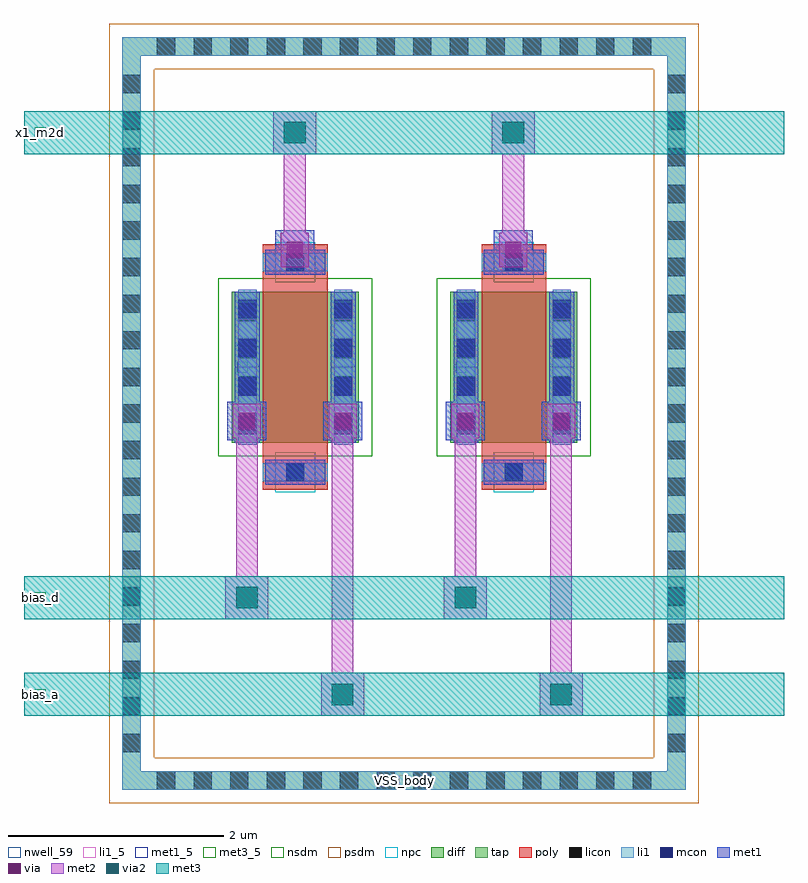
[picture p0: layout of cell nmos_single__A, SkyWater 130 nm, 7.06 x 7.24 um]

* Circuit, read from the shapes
.subckt nmos_single__A VSS_body bias_a bias_d x1_m2d
XM1 bias_a x1_m2d bias_d VSS_body sky130_fd_pr__nfet_01v8 w=1.4 l=0.6 m=2
.ends

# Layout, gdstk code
import gdstk
lib = gdstk.Library(unit=1e-6, precision=1e-09)
def R(c, l, rs):  # rectangles x0, y0, x1, y1
    for r in rs: c.add(gdstk.rectangle(r[:2], r[2:], *l))
def A(c, l, x, y, w, h, nx, ny, dx, dy):  # array of equal rectangles
    R(c, l, [(x+i*dx, y+j*dy, x+i*dx+w, y+j*dy+h) for i in range(nx) for j in range(ny)])
nwell_59 = (64, 59)
diff = (65, 20)
tap = (65, 44)
poly = (66, 20)
licon = (66, 44)
li1_5 = (67, 5)
li1 = (67, 20)
mcon = (67, 44)
met1_5 = (68, 5)
met1 = (68, 20)
via = (68, 44)
met2 = (69, 20)
via2 = (69, 44)
met3_5 = (70, 5)
met3 = (70, 20)
nsdm = (93, 44)
psdm = (94, 20)
npc = (95, 20)

sky130_fd_pr__nfet_01v8_ = lib.new_cell('sky130_fd_pr__nfet_01v8_KCM6UP')
R(sky130_fd_pr__nfet_01v8_, diff, [(-0.59,-0.7,0.59,0.7)])
R(sky130_fd_pr__nfet_01v8_, poly, [(-0.3,-1.14,0.3,1.14)])
A(sky130_fd_pr__nfet_01v8_, licon, -0.53, -0.595, 0.17, 0.17, 1, 4, 0, 0.34)
A(sky130_fd_pr__nfet_01v8_, licon, 0.36, -0.595, 0.17, 0.17, 1, 4, 0, 0.34)
R(sky130_fd_pr__nfet_01v8_, licon, [(-0.085,-1.06,0.085,-0.89), (-0.085,0.89,0.085,1.06)])
R(sky130_fd_pr__nfet_01v8_, li1, [(-0.3,-1.06,0.3,-0.89), (-0.53,-0.72,-0.36,0.72), (0.36,-0.72,0.53,0.72), (-0.3,0.89,0.3,1.06)])
A(sky130_fd_pr__nfet_01v8_, mcon, -0.53, -0.625, 0.17, 0.17, 1, 4, 0, 0.36)
A(sky130_fd_pr__nfet_01v8_, mcon, 0.36, -0.625, 0.17, 0.17, 1, 4, 0, 0.36)
R(sky130_fd_pr__nfet_01v8_, mcon, [(-0.085,-1.06,0.085,-0.89), (-0.085,0.89,0.085,1.06)])
R(sky130_fd_pr__nfet_01v8_, met1, [(-0.28,-1.09,0.28,-0.86), (-0.56,-0.7,-0.33,0.7), (0.33,-0.7,0.56,0.7), (-0.28,0.86,0.28,1.09)])
R(sky130_fd_pr__nfet_01v8_, nsdm, [(-0.715,-0.825,0.715,0.825)])
R(sky130_fd_pr__nfet_01v8_, npc, [(-0.185,-1.16,0.185,-0.79), (-0.185,0.79,0.185,1.16)])
sky130_fd_pr__nfet_01v8_.add(gdstk.Label('D', (-0.445,0), layer=67, texttype=5))
sky130_fd_pr__nfet_01v8_.add(gdstk.Label('S', (0.445,0), layer=67, texttype=5))
sky130_fd_pr__nfet_01v8_.add(gdstk.Label('G', (0,0.975), layer=67, texttype=5))

nfet_01v8_w1p4_l0p6_m2__ = lib.new_cell('nfet_01v8_W1p4_L0p6_m2__nf1_gboth_sdfull_ng')
R(nfet_01v8_w1p4_l0p6_m2__, nwell_59, [(0.05,1.09,0.15,1.19)])
R(nfet_01v8_w1p4_l0p6_m2__, met1_5, [(0.03,1.14,0.26,1.34), (0.92,1.14,1.15,1.34), (0.31,2,0.87,2.23)])
R(nfet_01v8_w1p4_l0p6_m2__, met1, [(0.03,1.14,0.26,1.34), (0.92,1.14,1.15,1.34), (0.31,2,0.87,2.23)])
nfet_01v8_w1p4_l0p6_m2__.add(gdstk.Reference(sky130_fd_pr__nfet_01v8_, (0.59,1.14)))
nfet_01v8_w1p4_l0p6_m2__.add(gdstk.Label('D', (0.145,1.24), layer=68, texttype=5))
nfet_01v8_w1p4_l0p6_m2__.add(gdstk.Label('S', (1.035,1.24), layer=68, texttype=5))
nfet_01v8_w1p4_l0p6_m2__.add(gdstk.Label('G', (0.59,2.115), layer=68, texttype=5))
nfet_01v8_w1p4_l0p6_m2__.add(gdstk.Label('B', (0.1,1.14), layer=64, texttype=59))

nmos_single__a = lib.new_cell('nmos_single__A')
R(nmos_single__a, tap, [(-0.885,-2.785,4.345,-2.615), (-0.885,-2.615,-0.715,4.035), (4.175,-2.615,4.345,4.035), (-0.885,4.035,4.345,4.205)])
A(nmos_single__a, licon, -0.565, -2.785, 0.17, 0.17, 14, 2, 0.34, 6.82)
A(nmos_single__a, licon, -0.885, -2.435, 0.17, 0.17, 1, 19, 0, 0.34)
A(nmos_single__a, licon, 4.175, -2.435, 0.17, 0.17, 1, 19, 0, 0.34)
R(nmos_single__a, li1_5, [(1.68,-2.75,1.78,-2.65)])
R(nmos_single__a, li1, [(-0.885,-2.785,4.345,-2.615), (-0.885,-2.615,-0.715,4.035), (4.175,-2.615,4.345,4.035), (-0.885,4.035,4.345,4.205)])
R(nmos_single__a, met1, [(0.09,0.46,0.45,0.82), (0.98,0.46,1.34,0.82), (2.12,0.46,2.48,0.82), (3.01,0.46,3.37,0.82), (0.535,2.05,0.895,2.41), (2.565,2.05,2.925,2.41)])
R(nmos_single__a, via, [(0.195,0.565,0.345,0.715), (1.085,0.565,1.235,0.715), (2.225,0.565,2.375,0.715), (3.115,0.565,3.265,0.715), (0.64,2.155,0.79,2.305), (2.67,2.155,2.82,2.305)])
R(nmos_single__a, met2, [(0.96,-2.1,1.36,-1.7), (2.99,-2.1,3.39,-1.7), (1.06,-1.7,1.26,0.48), (3.09,-1.7,3.29,0.48), (0.07,-1.2,0.47,-0.8), (2.1,-1.2,2.5,-0.8), (0.17,-0.8,0.37,0.48), (2.2,-0.8,2.4,0.48), (0.14,0.48,0.4,0.8), (1.03,0.48,1.29,0.8), (2.17,0.48,2.43,0.8), (3.06,0.48,3.32,0.8), (0.585,2.07,0.845,2.39), (2.615,2.07,2.875,2.39), (0.615,2.39,0.815,3.12), (2.645,2.39,2.845,3.12), (0.515,3.12,0.915,3.52), (2.545,3.12,2.945,3.52)])
R(nmos_single__a, via2, [(1.06,-2,1.26,-1.8), (3.09,-2,3.29,-1.8), (0.17,-1.1,0.37,-0.9), (2.2,-1.1,2.4,-0.9), (0.615,3.22,0.815,3.42), (2.645,3.22,2.845,3.42)])
R(nmos_single__a, met3_5, [(-1.7,-1.95,-1.6,-1.85), (-1.7,-1.05,-1.6,-0.95), (-1.7,3.27,-1.6,3.37)])
R(nmos_single__a, met3, [(-1.8,-2.1,5.26,-1.7), (-1.8,-1.2,5.26,-0.8), (-1.8,3.12,5.26,3.52)])
R(nmos_single__a, psdm, [(-1.01,-2.91,4.47,-2.49), (-1.01,-2.49,-0.59,3.91), (4.05,-2.49,4.47,3.91), (-1.01,3.91,4.47,4.33)])
nmos_single__a.add(gdstk.Reference(nfet_01v8_w1p4_l0p6_m2__, (2.16,0)))
nmos_single__a.add(gdstk.Reference(nfet_01v8_w1p4_l0p6_m2__, (0.13,0)))
nmos_single__a.add(gdstk.Label('x1_m2d', (-1.65,3.32), layer=70, texttype=5))
nmos_single__a.add(gdstk.Label('bias_d', (-1.65,-1), layer=70, texttype=5))
nmos_single__a.add(gdstk.Label('bias_a', (-1.65,-1.9), layer=70, texttype=5))
nmos_single__a.add(gdstk.Label('VSS_body', (1.73,-2.7), layer=67, texttype=5))

lib.write_gds('nmos_single__A.gds')
